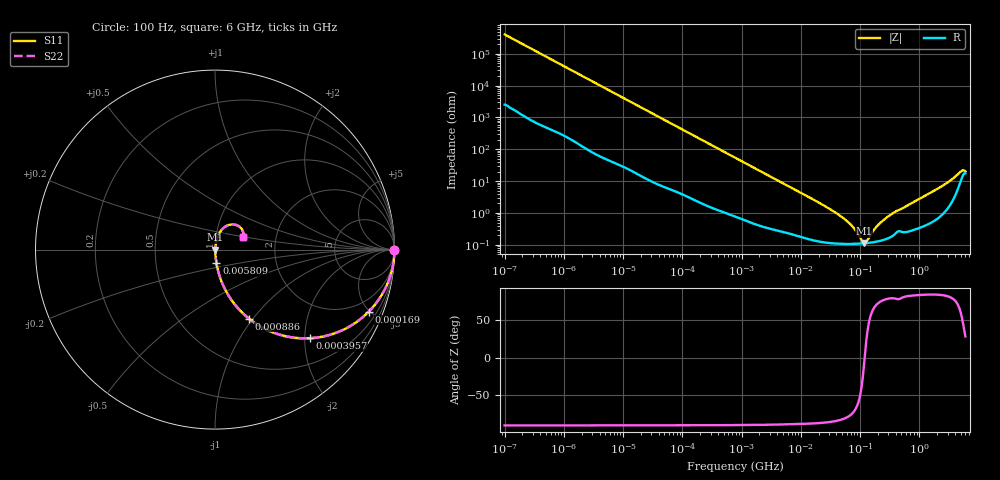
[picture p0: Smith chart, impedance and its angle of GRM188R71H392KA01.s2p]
!Murata Part Number: GRM188R71H392KA01
!These Parameters are Measured in Series Mode Connection
!Data Generated on Mar 30, 2021
!  o--ll--o
!Port1  Port2
!  o------o
!Operation Temp=25[degC], DC Bias Voltage=0[V]
!Freq. Start=100[Hz] Stop=6[GHz] 401[Steps]
# Hz S RI R 50
!Freq.(Hz) S11(Real) S11(Imag) S21(Real) S21(Imag) S12(Real) S12(Imag) S22(Real) S22(Imag)
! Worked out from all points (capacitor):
!   401 points, 100 Hz to 6 GHz, reference 50 ohm
!   read as one part in series: C = 3.92 nF near 109 Hz
!   lowest |Z| = 113 mohm at 116.7 MHz (marker M1)
!   series resonance near 119.7 MHz, so ESL is about 450 pH
!   S11 on the Smith chart (normalised r, x): 100 Hz: open; 169 kHz: 1.05, -4.95; 395.7 kHz: 1.02, -2.12; 886 kHz: 1.01, -0.95; 5.809 MHz: 1.00, -0.15; 6 GHz: 1.35, +0.19
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100  1 -0.000247  1.6e-06 0.000247  1.6e-06 0.000247  1 -0.000247
2008  0.9999 -0.00489  5.41e-05 0.00489  5.41e-05 0.00489  0.9999 -0.00489
40335  0.9899 -0.0961  0.0101 0.0961  0.0101 0.0961  0.9899 -0.0961
94437  0.9494 -0.2146  0.0506 0.2146  0.0506 0.2146  0.9494 -0.2146
169018  0.8573 -0.3449  0.1427 0.3449  0.1427 0.3449  0.8573 -0.3449
395726  0.5298 -0.4933  0.4702 0.4933  0.4702 0.4933  0.5298 -0.4933
774597  0.2325 -0.4153  0.7675 0.4153  0.7675 0.4153  0.2325 -0.4153
885955  0.1892 -0.3843  0.8108 0.3843  0.8108 0.3843  0.1892 -0.3843
1813585  0.0557 -0.2205  0.9443 0.2205  0.9443 0.2205  0.0557 -0.2205
5809218  0.00776 -0.0732  0.9922 0.0732  0.9922 0.0732  0.00776 -0.0732
1.555665e7  0.00217 -0.0275  0.9978 0.0275  0.9978 0.0275  0.00217 -0.0275
3.482834e7  0.00124 -0.0115  0.9988 0.0115  0.9988 0.0115  0.00124 -0.0115
5.699437e7  0.0011 -0.00595  0.9989 0.00595  0.9989 0.00595  0.0011 -0.00595
7.797396e7  0.00108 -0.00324  0.9989 0.00324  0.9989 0.00324  0.00108 -0.00324
1.066761e8  0.0011 -0.000843  0.9989 0.000843  0.9989 0.000843  0.0011 -0.000843
1.166697e8  0.00111 -0.000185  0.9989 0.000185  0.9989 0.000185  0.00111 -0.000185
1.334425e8  0.00114 0.000799  0.9989 -0.000799  0.9989 -0.000799  0.00114 0.000799
1.996653e8  0.0013 0.00389  0.9987 -0.00389  0.9987 -0.00389  0.0013 0.00389
3.124326e8  0.00173 0.00807  0.9983 -0.00807  0.9983 -0.00807  0.00173 0.00807
2.931063e9  0.02 0.0844  0.98 -0.0844  0.98 -0.0844  0.02 0.0844
5.016141e9  0.1141 0.1387  0.8859 -0.1387  0.8859 -0.1387  0.1141 0.1387
6e9  0.1562 0.0681  0.8438 -0.0681  0.8438 -0.0681  0.1562 0.0681
